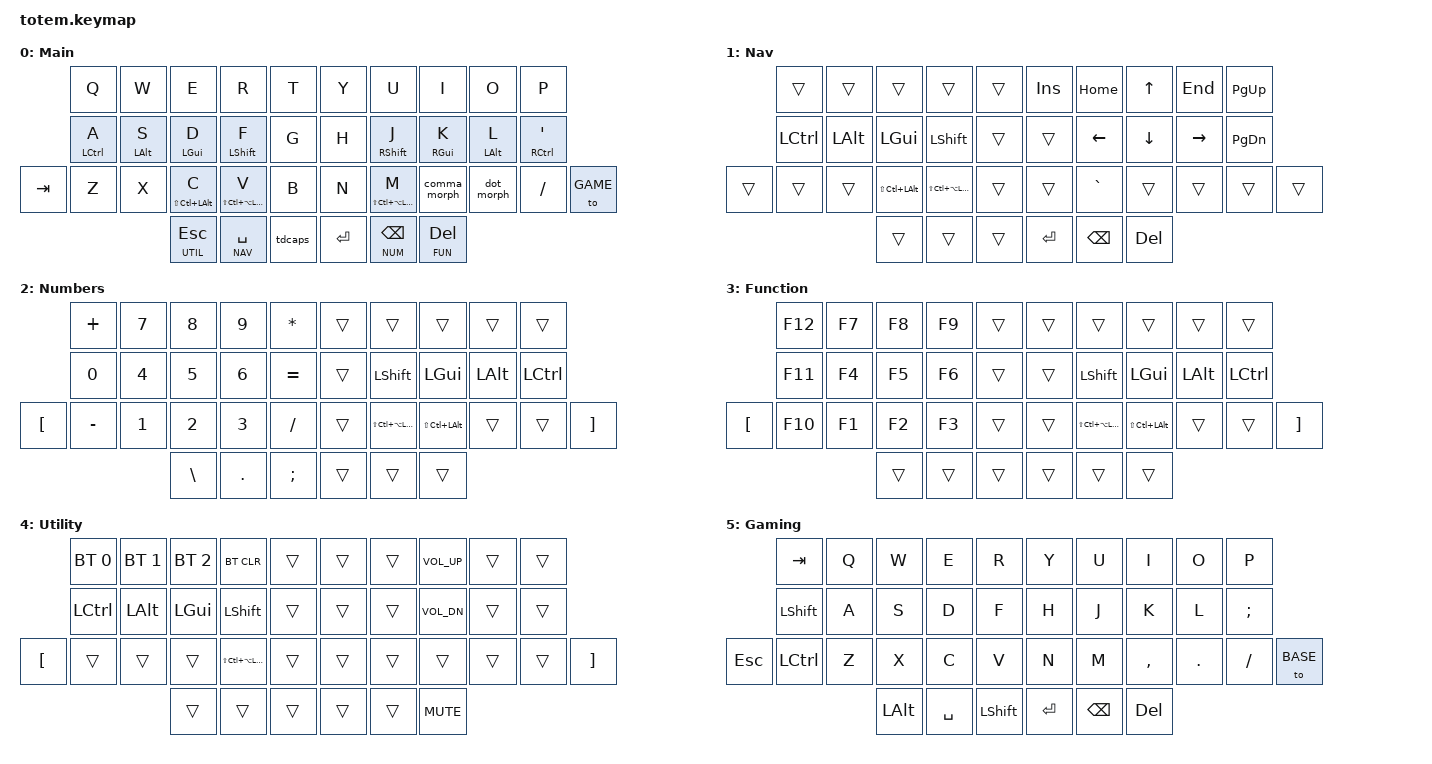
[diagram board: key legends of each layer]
/*
 * Copyright (c) 2020 The ZMK Contributors
 *
 * SPDX-License-Identifier: MIT
 */

#include <behaviors.dtsi>
#include <dt-bindings/zmk/keys.h>
#include <dt-bindings/zmk/bt.h>
#include "zmk-helpers/helper.h"

// Source desired key-position labels
#include "zmk-helpers/key-labels/totem.h"

#define XXX &none
#define ___ &trans

#define BASE 0
#define NAV 1
#define NUM 2
#define FUN 3
#define UTIL 4
#define GAME 5

// navigation bindings for back/forward and prev tab/next tab
#define BACK &kp LC(LBKT)
#define FWD &kp LC(RBKT)

// hyper and meh keys
#define HYP LS(LC(LA(LGUI)))
#define MEH LS(LC(LALT))

/* ------------------------ general config ----------------------- */

#define QUICK_TAP_MS 175

// smart-layer config
&caps_word {  
    // /delete-property/ ignore-modifiers; // mods deactivate, requires PR #1451
    /delete-property/ ignore-numbers;
    continue-list = <BACKSPACE ENTER DELETE UNDERSCORE MINUS>;
};

// key-repeat config
&key_repeat {
    usage-pages = <HID_USAGE_KEY HID_USAGE_CONSUMER>; // repeat all keys
};

// sticky key aka 'one-shot mods'
&sk {
    release-after-ms = <2000>;
    quick-release;
};

// default layer-tap config
&lt {  
    flavor = "balanced";
    tapping-term-ms = <200>;
    quick-tap-ms = <QUICK_TAP_MS>;
};

#define KEYS_L LT0 LT1 LT2 LT3 LT4 LM0 LM1 LM2 LM3 LM4 LB0 LB1 LB2 LB3 LB4  // left hand
#define KEYS_R RT0 RT1 RT2 RT3 RT4 RM0 RM1 RM2 RM3 RM4 RB0 RB1 RB2 RB3 RB4  // right hand
#define THUMBS LH2 LH1 LH0 RH0 RH1 RH2                                      // thumbs

#define MAKE_HRM(NAME, HOLD, TAP, TRIGGER_POS) \
    ZMK_BEHAVIOR(NAME, hold_tap, \
        flavor = "balanced"; \
        tapping-term-ms = <280>; \
        quick-tap-ms = <QUICK_TAP_MS>; \
        require-prior-idle-ms = <150>; \
        bindings = <HOLD>, <TAP>; \
        hold-trigger-key-positions = <TRIGGER_POS>; \
        hold-trigger-on-release; \
    )
MAKE_HRM(hml, &kp, &kp, KEYS_R THUMBS)  // left-hand HRMs
MAKE_HRM(hmr, &kp, &kp, KEYS_L THUMBS)  // right-hand HRMs

// special HRMs for the right meh key, as it involves a modmorph
MAKE_HRM(hmr_meh, &kp, &comma_morph, KEYS_L THUMBS)

/ {
    behaviors {
        // tap: dot | shift + tap: colon | shift + control + tap: greater_than
        GT_morph: GT_morph {
            compatible = "zmk,behavior-mod-morph";
            #binding-cells = <0>;
            bindings = <&kp COLON>, <&kp GT>;
            mods = <(MOD_LCTL|MOD_RCTL)>;
        };
        dot_morph: dot_morph {
            compatible = "zmk,behavior-mod-morph";
            #binding-cells = <0>;
            bindings = <&kp DOT>, <&GT_morph>;
            mods = <(MOD_LSFT|MOD_RSFT)>;
        };

        // tap: comma | shift + tap: semicolon | shift + control + tap: less_than
        LT_morph: LT_morph {
            compatible = "zmk,behavior-mod-morph";
            #binding-cells = <0>;
            bindings = <&kp SEMICOLON>, <&kp LT>;
            mods = <(MOD_LCTL|MOD_RCTL)>;
        };
        comma_morph: comma_morph {
            compatible = "zmk,behavior-mod-morph";
            #binding-cells = <0>;
            bindings = <&kp COMMA>, <&LT_morph>;
            mods = <(MOD_LSFT|MOD_RSFT)>;
        };
        
        // tap: qmark | shift + tap: excl
        qexcl: qexcl {
            compatible = "zmk,behavior-mod-morph";
            #binding-cells = <0>;
            bindings = <&kp QMARK>, <&kp EXCL>;
            mods = <(MOD_LSFT|MOD_RSFT)>;
        };

        // sticky shift - caps lock
        tdcaps: tap_dance_0 {
            compatible = "zmk,behavior-tap-dance";
            #binding-cells = <0>;
            tapping-term-ms = <200>;
            bindings = <&sk LSHFT>, <&caps_word>;
        };
    };
    keymap {
        compatible = "zmk,keymap";
        default_layer {
            display-name = "Main";
            bindings = <
            &kp Q         &kp W         &kp E            &kp R            &kp T              &kp Y         &kp U              &kp I            &kp O         &kp P 
            &hml LCTRL A  &hml LALT S   &hml LGUI D      &hml LSHFT F     &kp G              &kp H         &hmr RSHFT J       &hmr RGUI K      &hmr LALT L   &hmr RCTRL APOS
 &kp TAB    &kp Z         &kp X         &hml MEH C       &hml HYP V       &kp B              &kp N         &hmr HYP M         &comma_morph     &dot_morph    &kp FSLH      &to GAME
                                        &lt UTIL ESC     &lt NAV SPACE    &tdcaps          &kp RET       &lt NUM BSPC       &lt FUN DEL
            >;
        };
        nav_layer { 
            display-name = "Nav";
            bindings = <
            ___          ___          ___             ___             ___                &kp INS       &kp HOME          &kp UP          &kp END       &kp PAGE_UP 
            &kp LCTRL     &kp LALT     &kp LGUI       &kp LSHFT       ___                ___           &kp LEFT          &kp DOWN        &kp RIGHT     &kp PAGE_DOWN
___    ___           ___          &kp MEH         &kp HYP         ___                ___          &kp GRAVE         ___             ___      		___	  ___
                                       ___            ___             ___                &kp RET       &kp BSPC          &kp DEL
            >;
        }; 
        num_layer {
            display-name = "Numbers";
            bindings = <
            &kp PLUS     &kp N7       &kp N8          &kp  N9         &kp STAR           ___           ___               ___             ___           ___ 
            &kp N0       &kp N4       &kp N5          &kp  N6         &kp EQUAL          ___           &kp LSHFT         &kp LGUI        &kp LALT      &kp LCTRL
  &kp LBKT  &kp MINUS    &kp N1       &kp N2          &kp  N3         &kp FSLH           ___           &kp HYP           &kp MEH         ___           ___            &kp RBKT
                                      &kp BSLH        &kp  DOT        &kp SEMI           ___           ___               ___
            >;
        };
        fun_layer {
            display-name = "Function";
            bindings = <
            &kp F12      &kp F7       &kp F8          &kp F9          ___                ___           ___               ___             ___           ___
            &kp F11      &kp F4       &kp F5          &kp F6          ___                ___           &kp LSHFT         &kp LGUI        &kp LALT      &kp LCTRL 
&kp LBKT    &kp F10      &kp F1       &kp F2          &kp F3          ___                ___           &kp HYP           &kp MEH         ___           ___            &kp RBKT
                                      ___             ___             ___                ___           ___               ___
            >;
        };
        util_layer {
            display-name = "Utility";
            bindings = <
            &bt BT_SEL 0 &bt BT_SEL 1 &bt BT_SEL 2    &bt BT_CLR      ___                ___           ___               &kp C_VOL_UP    ___           ___
            &kp LCTRL     &kp LALT     &kp LGUI       &kp LSHFT      ___                ___           ___                &kp C_VOL_DN    ___           ___ 
&kp LBKT     ___          ___          ___             &kp HYP        ___                ___           ___               ___             ___           ___             &kp RBKT
                                      ___             ___             ___                ___           ___               &kp C_MUTE
            >;
        };
        gaming_layer {
            display-name = "Gaming";
            bindings = <
            &kp TAB       &kp Q         &kp W         &kp E            &kp R                          &kp Y         &kp U              &kp I            &kp O         &kp P 
            &kp LSHFT     &kp A         &kp S         &kp D            &kp F                          &kp H         &kp J              &kp K            &kp L         &kp SEMI
 &kp ESC    &kp LCTRL     &kp Z         &kp X         &kp C            &kp V                          &kp N         &kp M              &kp COMMA        &kp DOT       &kp FSLH      &to BASE
                                        &kp LALT      &kp SPACE        &kp LSHFT                      &kp RET       &kp BSPC           &kp DEL
            >;
        };
    };
};
    
/* --------------------------------- combos --------------------------------- */
/*
   ╭────────────────────┬────────────────────╮     ╭─────────────────────┬─────────────────────╮
   │  0   1   2   3   4 │  5   6   7   8   9 │     │ LT4 LT3 LT2 LT1 LT0 │ RT0 RT1 RT2 RT3 RT4 │
   │ 10  11  12  13  14 │ 15  16  17  18  19 │     │ LM4 LM3 LM2 LM1 LM0 │ RM0 RM1 RM2 RM3 RM4 │
  20 21  22  23  24  25 │ 26  27  28  29  30 31  LB5 LB4 LB3 LB2 LB1 LB0 │ RB0 RB1 RB2 RB3 RB4 RB5
   ╰───────╮ 32  33  34 │ 35  36  37 ╭───────╯     ╰───────╮ LH2 LH1 LH0 │ RH0 RH1 RH2 ╭───────╯
           ╰────────────┴────────────╯                     ╰─────────────┴─────────────╯             */
// use global-quick-tap-ms for combos (requires PR 1387)
